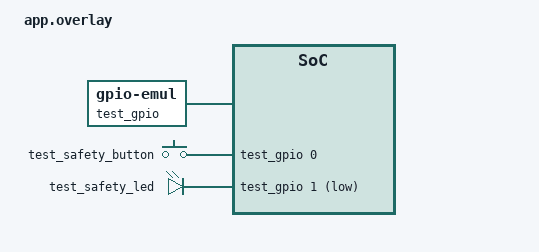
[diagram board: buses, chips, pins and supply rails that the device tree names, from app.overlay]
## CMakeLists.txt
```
############################################################################
#
#   Copyright (c) 2026 PX4 Development Team. All rights reserved.
#
# Redistribution and use in source and binary forms, with or without
# modification, are permitted provided that the following conditions
# are met:
#
# 1. Redistributions of source code must retain the above copyright
#    notice, this list of conditions and the following disclaimer.
# 2. Redistributions in binary form must reproduce the above copyright
#    notice, this list of conditions and the following disclaimer in
#    the documentation and/or other materials provided with the
#    distribution.
# 3. Neither the name PX4 nor the names of its contributors may be
#    used to endorse or promote products derived from this software
#    without specific prior written permission.
#
# THIS SOFTWARE IS PROVIDED BY THE COPYRIGHT HOLDERS AND CONTRIBUTORS
# "AS IS" AND ANY EXPRESS OR IMPLIED WARRANTIES, INCLUDING, BUT NOT
# LIMITED TO, THE IMPLIED WARRANTIES OF MERCHANTABILITY AND FITNESS
# FOR A PARTICULAR PURPOSE ARE DISCLAIMED. IN NO EVENT SHALL THE
# COPYRIGHT OWNER OR CONTRIBUTORS BE LIABLE FOR ANY DIRECT, INDIRECT,
# INCIDENTAL, SPECIAL, EXEMPLARY, OR CONSEQUENTIAL DAMAGES (INCLUDING,
# BUT NOT LIMITED TO, PROCUREMENT OF SUBSTITUTE GOODS OR SERVICES; LOSS
# OF USE, DATA, OR PROFITS; OR BUSINESS INTERRUPTION) HOWEVER CAUSED
# AND ON ANY THEORY OF LIABILITY, WHETHER IN CONTRACT, STRICT
# LIABILITY, OR TORT (INCLUDING NEGLIGENCE OR OTHERWISE) ARISING IN
# ANY WAY OUT OF THE USE OF THIS SOFTWARE, EVEN IF ADVISED OF THE
# POSSIBILITY OF SUCH DAMAGE.
#
############################################################################

cmake_minimum_required(VERSION 3.20.0)

find_package(Zephyr REQUIRED HINTS $ENV{ZEPHYR_BASE})
project(px4_safety_button_test)

target_sources(app PRIVATE
	src/main.cpp
	src/safety_switch.c
)
target_link_libraries(app PRIVATE px4_interface)
```

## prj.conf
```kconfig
CONFIG_ZTEST=y
CONFIG_ZTEST_STACK_SIZE=4096
CONFIG_PX4=y
CONFIG_PX4_BOARD_CONFIG="zephyr_generic_safety"
# the gpio-keys input driver reads the button too, as on the VMU RT1170
CONFIG_INPUT=y
```

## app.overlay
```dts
#include <zephyr/dt-bindings/gpio/gpio.h>
#include <zephyr/dt-bindings/input/input-event-codes.h>

/ {
	/* with the edge interrupts of the gpio-keys input driver */
	test_gpio: gpio-emul {
		compatible = "zephyr,gpio-emul";
		gpio-controller;
		#gpio-cells = <2>;
		rising-edge;
		falling-edge;
	};

	/* the safety switch of a GPS module, as on the VMU RT1170: the button, active high */
	test-keys {
		compatible = "gpio-keys";

		test_safety_button: safety-button {
			gpios = <&test_gpio 0 (GPIO_PULL_DOWN | GPIO_ACTIVE_HIGH)>;
			zephyr,code = <INPUT_KEY_0>;
		};
	};

	/* and its LED, active low */
	test-leds {
		compatible = "gpio-leds";

		test_safety_led: safety-led {
			gpios = <&test_gpio 1 GPIO_ACTIVE_LOW>;
		};
	};

	px4-safety-button {
		compatible = "px4,safety-button";
		button = <&test_safety_button>;
	};

	px4-leds {
		compatible = "px4,leds";
		safety = <&test_safety_led>;
	};
};

/* the buttons of the board, which the gpio-keys driver can't read on the QEMU board, as they have no interrupts */
&{/gpio_keys} {
	status = "disabled";
};
```

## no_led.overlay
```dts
/ {
	px4-leds {
		/delete-property/ safety;
	};
};
```

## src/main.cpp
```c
/****************************************************************************
 *
 *   Copyright (c) 2026 PX4 Development Team. All rights reserved.
 *
 * Redistribution and use in source and binary forms, with or without
 * modification, are permitted provided that the following conditions
 * are met:
 *
 * 1. Redistributions of source code must retain the above copyright
 *    notice, this list of conditions and the following disclaimer.
 * 2. Redistributions in binary form must reproduce the above copyright
 *    notice, this list of conditions and the following disclaimer in
 *    the documentation and/or other materials provided with the
 *    distribution.
 * 3. Neither the name PX4 nor the names of its contributors may be
 *    used to endorse or promote products derived from this software
 *    without specific prior written permission.
 *
 * THIS SOFTWARE IS PROVIDED BY THE COPYRIGHT HOLDERS AND CONTRIBUTORS
 * "AS IS" AND ANY EXPRESS OR IMPLIED WARRANTIES, INCLUDING, BUT NOT
 * LIMITED TO, THE IMPLIED WARRANTIES OF MERCHANTABILITY AND FITNESS
 * FOR A PARTICULAR PURPOSE ARE DISCLAIMED. IN NO EVENT SHALL THE
 * COPYRIGHT OWNER OR CONTRIBUTORS BE LIABLE FOR ANY DIRECT, INDIRECT,
 * INCIDENTAL, SPECIAL, EXEMPLARY, OR CONSEQUENTIAL DAMAGES (INCLUDING,
 * BUT NOT LIMITED TO, PROCUREMENT OF SUBSTITUTE GOODS OR SERVICES; LOSS
 * OF USE, DATA, OR PROFITS; OR BUSINESS INTERRUPTION) HOWEVER CAUSED
 * AND ON ANY THEORY OF LIABILITY, WHETHER IN CONTRACT, STRICT
 * LIABILITY, OR TORT (INCLUDING NEGLIGENCE OR OTHERWISE) ARISING IN
 * ANY WAY OUT OF THE USE OF THIS SOFTWARE, EVEN IF ADVISED OF THE
 * POSSIBILITY OF SUCH DAMAGE.
 *
 ****************************************************************************/

/**
 * @file main.cpp
 *
 * Tests of the safety_button driver with the safety switch of a GPS module on an emulated GPIO controller: a button,
 * also read by the gpio-keys input driver, as on the VMU RT1170, and its LED.
 */

#include "safety_switch.h"

#include <drivers/drv_hrt.h>
#include <px4_platform_common/px4_config.h>
#include <px4_zephyr.h>
#include <uORB/Publication.hpp>
#include <uORB/Subscription.hpp>
#include <uORB/topics/actuator_armed.h>
#include <uORB/topics/button_event.h>
#include <uORB/topics/led_control.h>
#include <uORB/topics/tune_control.h>
#include <uORB/topics/vehicle_command.h>
#include <uORB/topics/vehicle_status.h>

#include <stdlib.h>
#include <string.h>

#include <zephyr/ztest.h>

using namespace time_literals;

#if !defined(BOARD_SAFETY_BUTTON)
#error "the safety button of the devicetree is BOARD_SAFETY_BUTTON()"
#endif

#if defined(CONFIG_PX4_SAFETY_LED) != defined(BOARD_SAFETY_LED)
#error "the safety LED of the devicetree is BOARD_SAFETY_LED()"
#endif

// the driver samples the button every 33 ms, and publishes a safety button event once it has been pressed for 30
// samples, about 1 second
static constexpr hrt_abstime INTERVAL{33_ms};
static constexpr unsigned PRESSED_SAMPLES{30};

// the latency of the work queue
static constexpr hrt_abstime LATENCY{2_ms};

// a press or a release of this length is sampled at least once
static constexpr hrt_abstime SAMPLED{INTERVAL + 17_ms};

// the presses that request pairing are within this time
static constexpr hrt_abstime PAIRING_WINDOW{2_s};

// the gpio-keys input driver reports a press once the button has been stable for its debounce interval
static constexpr hrt_abstime KEY_DEBOUNCE{30_ms};

static bool led_lit_at_start;

static int run(const char *command)
{
	char buffer[64];
	strncpy(buffer, command, sizeof(buffer) - 1);
	buffer[sizeof(buffer) - 1] = '\0';

	char *argv[4] {};
	int argc = 0;
	char *saveptr = nullptr;

	for (char *token = strtok_r(buffer, " ", &saveptr); token != nullptr && argc < 4;
	     token = strtok_r(nullptr, " ", &saveptr)) {
		argv[argc++] = token;
	}

	return px4_zephyr_run_command(argc, argv);
}

static void *setup(void)
{
	static bool initialized = false;

	if (!initialized) {
		initialized = true;

		zassert_ok(px4_zephyr_init());
		zassert_ok(run("safety_button start"));

		// the driver leaves the LED off until the armed state is published
		k_sleep(K_USEC(4 * INTERVAL));
		led_lit_at_start = test_led_lit();
	}

	return nullptr;
}

static void sleep_for(hrt_abstime time)
{
	k_sleep(K_USEC(time));
}

// skip the messages published so far
template<typename T>
static void skip_messages(uORB::Subscription &subscription)
{
	T message;

	while (subscription.update(&message)) {
	}
}

// as Commander publishes them
static void publish_state(bool safety_off, bool armed)
{
	static uORB::Publication<vehicle_status_s> vehicle_status_pub{ORB_ID(vehicle_status)};
	static uORB::Publication<actuator_armed_s> actuator_armed_pub{ORB_ID(actuator_armed)};

	vehicle_status_s vehicle_status{};
	vehicle_status.arming_state = armed ? vehicle_status_s::ARMING_STATE_ARMED : vehicle_status_s::ARMING_STATE_DISARMED;
	vehicle_status.safety_button_available = true;
	vehicle_status.safety_off = safety_off;
	vehicle_status.timestamp = hrt_absolute_time();
	vehicle_status_pub.publish(vehicle_status);

	actuator_armed_s actuator_armed{};
	actuator_armed.armed = armed;
	actuator_armed.timestamp = hrt_absolute_time();
	actuator_armed_pub.publish(actuator_armed);
}

// the time of the next safety button event, or 0 if there is none within the timeout
static hrt_abstime wait_for_event(uORB::Subscription &subscription, hrt_abstime timeout)
{
	const hrt_abstime start = hrt_absolute_time();

	while (hrt_elapsed_time(&start) < timeout) {
		button_event_s event;

		if (subscription.update(&event)) {
			zassert_true(event.triggered);
			return event.timestamp;
		}

		k_sleep(K_MSEC(1));
	}

	return 0;
}

// press the button, and check the safety button event of the driver after 30 samples
static void press_for_event(uORB::Subscription &subscription)
{
	const hrt_abstime pressed = hrt_absolute_time();
	test_button_set(true);

	const hrt_abstime event = wait_for_event(subscription, PRESSED_SAMPLES * INTERVAL + 100_ms);
	zassert_true(event != 0, "no safety button event");

	// the 30th sample, 29 intervals after the first one, within an interval of the press
	const hrt_abstime delay = event - pressed;
	zassert_between_inclusive(delay, (PRESSED_SAMPLES - 1) * INTERVAL - LATENCY, PRESSED_SAMPLES * INTERVAL + LATENCY,
				  "event %u us after the press", (uint32_t)delay);
}

static void button_before(void *fixture)
{
	test_button_set(false);
	sleep_for(SAMPLED);
}

static void release_button(void *fixture)
{
	test_button_set(false);
}

ZTEST(px4_safety_button, test_input)
{
	zassert_true(test_button_is_input(), "the button isn't an input with a pull-down");

#if defined(CONFIG_INPUT_GPIO_KEYS)
	// configured by the gpio-keys input driver, whose interrupt PX4 leaves enabled
	zassert_true(test_button_has_interrupt(), "the interrupt of the button is disabled");
#endif
}

ZTEST(px4_safety_button, test_press)
{
	uORB::Subscription safety_button_sub{ORB_ID(safety_button)};
	skip_messages<button_event_s>(safety_button_sub);

	const uint32_t key_presses = test_button_key_presses();
	const uint32_t key_releases = test_button_key_releases();

	press_for_event(safety_button_sub);

	// no other event while the button is held
	zassert_equal(wait_for_event(safety_button_sub, 2_s), 0, "event while the button is held");

	// another one when it is pressed again
	test_button_set(false);
	sleep_for(SAMPLED);
	press_for_event(safety_button_sub);

	test_button_set(false);
	sleep_for(KEY_DEBOUNCE + SAMPLED);

#if defined(CONFIG_INPUT_GPIO_KEYS)
	// the gpio-keys input driver still reports the button
	zassert_equal(test_button_key_presses() - key_presses, 2);
	zassert_equal(test_button_key_releases() - key_releases, 2);
#else
	ARG_UNUSED(key_presses);
	ARG_UNUSED(key_releases);
#endif
}

ZTEST(px4_safety_button, test_interrupted_press)
{
	uORB::Subscription safety_button_sub{ORB_ID(safety_button)};
	skip_messages<button_event_s>(safety_button_sub);

	// presses shorter than 1 second, interrupted by releases that the driver samples, as with a bad contact
	for (int i = 0; i < 3; i++) {
		test_button_set(true);
		sleep_for(700_ms);
		test_button_set(false);
		sleep_for(SAMPLED);
	}

	zassert_false(safety_button_sub.updated(), "event for interrupted presses");

	// the event 1 second after the last press
	press_for_event(safety_button_sub);
}

ZTEST(px4_safety_button, test_pairing)
{
	uORB::Subscription safety_button_sub{ORB_ID(safety_button)};
	uORB::Subscription vehicle_command_sub{ORB_ID(vehicle_command)};
	uORB::Subscription led_control_sub{ORB_ID(led_control)};
	uORB::Subscription tune_control_sub{ORB_ID(tune_control)};

	// the presses of the other tests are out of the window
	sleep_for(PAIRING_WINDOW + SAMPLED);
	skip_messages<button_event_s>(safety_button_sub);
	skip_messages<vehicle_command_s>(vehicle_command_sub);
	skip_messages<led_control_s>(led_control_sub);
	skip_messages<tune_control_s>(tune_control_sub);

	// 3 presses within 2 seconds request a pairing to the ground station
	for (int i = 0; i < 3; i++) {
		test_button_set(true);
		sleep_for(100_ms);
		test_button_set(false);
		sleep_for(100_ms);
	}

	vehicle_command_s vehicle_command;
	zassert_true(vehicle_command_sub.update(&vehicle_command), "no pairing request");
	zassert_equal(vehicle_command.command, vehicle_command_s::VEHICLE_CMD_START_RX_PAIR);
	zassert_equal(vehicle_command.param1, 10.f);
	zassert_false(vehicle_command_sub.updated());

	led_control_s led_control;
	zassert_true(led_control_sub.update(&led_control));
	zassert_equal(led_control.mode, led_control_s::MODE_BLINK_FAST);
	zassert_equal(led_control.color, led_control_s::COLOR_WHITE);
	zassert_equal(led_control.num_blinks, 20);

	tune_control_s tune_control;
	zassert_true(tune_control_sub.update(&tune_control));
	zassert_equal(tune_control.tune_id, tune_control_s::TUNE_ID_NOTIFY_POSITIVE);

	// presses more than 2 seconds apart don't
	sleep_for(PAIRING_WINDOW + SAMPLED);

	for (int i = 0; i < 3; i++) {
		test_button_set(true);
		sleep_for(100_ms);
		test_button_set(false);
		sleep_for(1_s);
	}

	zassert_false(vehicle_command_sub.updated(), "pairing request for presses more than 2 seconds apart");
	zassert_false(safety_button_sub.updated(), "safety button event for short presses");
}

#if !defined(CONFIG_PX4_SAFETY_LED)
ZTEST(px4_safety_button, test_no_led)
{
	// the driver has no LED to blink
	publish_state(true, true);
	sleep_for(500_ms);
	zassert_false(test_led_lit());
}
#endif

ZTEST_SUITE(px4_safety_button, NULL, setup, button_before, release_button, NULL);

#if defined(CONFIG_PX4_SAFETY_LED)

// the patterns of the safety LED: the driver shows each of the 16 bits for 3 samples (99 ms), so that a pattern lasts
// 48 samples
static constexpr uint16_t SLOW_BLINK{0x0003};   // safety on, disarmed
static constexpr uint16_t QUAD_BLINK{0x5500};   // safety on, armed
static constexpr uint16_t DOUBLE_BLINK{0x5050}; // safety off, disarmed
static constexpr uint16_t SOLID{0xffff};        // safety off, armed
static constexpr int SAMPLES_PER_BIT{3};
static constexpr int PATTERN_SAMPLES{48};
static constexpr hrt_abstime PATTERN_PERIOD{PATTERN_SAMPLES * INTERVAL};

// the LED is sampled every millisecond
static constexpr hrt_abstime LED_SAMPLE{1_ms};
static constexpr hrt_abstime LED_TOLERANCE{2 * LATENCY + LED_SAMPLE};

static bool pattern_lit(uint16_t pattern, int sample)
{
	return (pattern & (1 << ((sample % PATTERN_SAMPLES) / SAMPLES_PER_BIT))) != 0;
}

struct led_change {
	hrt_abstime time;
	bool lit;
};

static constexpr size_t MAX_CHANGES{64};

// the changes of the LED for a time, too many for the stack of the test
static led_change changes[MAX_CHANGES];

static size_t record_led(hrt_abstime duration)
{
	size_t count = 0;
	bool lit = test_led_lit();
	const hrt_abstime start = hrt_absolute_time();

	while (hrt_elapsed_time(&start) < duration) {
		sleep_for(LED_SAMPLE);

		if (test_led_lit() != lit) {
			lit = !lit;

			if (count < MAX_CHANGES) {
				changes[count] = {hrt_absolute_time(), lit};
			}

			count++;
		}
	}

	zassert_true(count <= MAX_CHANGES, "%zu changes", count);
	return count;
}

// check that the LED blinks the pattern, over two periods
static void check_pattern(uint16_t pattern)
{
	// the driver has seen the new state
	sleep_for(2 * INTERVAL);

	const size_t count = record_led(2 * PATTERN_PERIOD + 4 * INTERVAL);

	if (pattern == SOLID) {
		zassert_equal(count, 0, "%zu changes", count);
		zassert_true(test_led_lit());
		return;
	}

	// the samples during which the LED stays lit or off between two changes, a period of them at least
	int runs[MAX_CHANGES] {};
	int samples = 0;

	for (size_t i = 0; i + 1 < count; i++) {
		const hrt_abstime duration = changes[i + 1].time - changes[i].time;
		runs[i] = (int)((duration + INTERVAL / 2) / INTERVAL);
		samples += runs[i];

		const int64_t error = (int64_t)duration - (int64_t)(runs[i] * INTERVAL);
		zassert_true(llabs(error) <= (int64_t)LED_TOLERANCE, "%s for %u us", changes[i].lit ? "lit" : "off",
			     (uint32_t)duration);
	}

	zassert_true(samples >= PATTERN_SAMPLES, "%d samples", samples);

	// the sample of the pattern at the first change
	bool found = false;

	for (int first = 0; (first < PATTERN_SAMPLES) && !found; first++) {
		bool match = pattern_lit(pattern, first + PATTERN_SAMPLES - 1) != changes[0].lit;
		int sample = first;

		for (size_t i = 0; (i + 1 < count) && match; i++) {
			for (int run = 0; run < runs[i]; run++) {
				match = match && (pattern_lit(pattern, sample + run) == changes[i].lit);
			}

			sample += runs[i];
			match = match && (pattern_lit(pattern, sample) != changes[i].lit);
		}

		found = match;
	}

	zassert_true(found, "the LED doesn't blink %04x", pattern);
}

ZTEST(px4_safety_led, test_start)
{
	zassert_false(led_lit_at_start, "LED lit before the armed state is published");
}

ZTEST(px4_safety_led, test_safety_on)
{
	publish_state(false, false);
	check_pattern(SLOW_BLINK);
}

ZTEST(px4_safety_led, test_safety_off)
{
	publish_state(true, false);
	check_pattern(DOUBLE_BLINK);
}

ZTEST(px4_safety_led, test_armed)
{
	publish_state(false, true);
	check_pattern(QUAD_BLINK);
}

ZTEST(px4_safety_led, test_armed_safety_off)
{
	publish_state(true, true);
	check_pattern(SOLID);

	// active low
	zassert_equal(test_led_level(), 0);
}

ZTEST(px4_safety_led, test_button)
{
	// the LED shows the safety state, not the button
	publish_state(false, false);
	test_button_set(true);
	check_pattern(SLOW_BLINK);
}

ZTEST_SUITE(px4_safety_led, NULL, setup, NULL, release_button, NULL);

#endif // CONFIG_PX4_SAFETY_LED
```

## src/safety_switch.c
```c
/****************************************************************************
 *
 *   Copyright (c) 2026 PX4 Development Team. All rights reserved.
 *
 * Redistribution and use in source and binary forms, with or without
 * modification, are permitted provided that the following conditions
 * are met:
 *
 * 1. Redistributions of source code must retain the above copyright
 *    notice, this list of conditions and the following disclaimer.
 * 2. Redistributions in binary form must reproduce the above copyright
 *    notice, this list of conditions and the following disclaimer in
 *    the documentation and/or other materials provided with the
 *    distribution.
 * 3. Neither the name PX4 nor the names of its contributors may be
 *    used to endorse or promote products derived from this software
 *    without specific prior written permission.
 *
 * THIS SOFTWARE IS PROVIDED BY THE COPYRIGHT HOLDERS AND CONTRIBUTORS
 * "AS IS" AND ANY EXPRESS OR IMPLIED WARRANTIES, INCLUDING, BUT NOT
 * LIMITED TO, THE IMPLIED WARRANTIES OF MERCHANTABILITY AND FITNESS
 * FOR A PARTICULAR PURPOSE ARE DISCLAIMED. IN NO EVENT SHALL THE
 * COPYRIGHT OWNER OR CONTRIBUTORS BE LIABLE FOR ANY DIRECT, INDIRECT,
 * INCIDENTAL, SPECIAL, EXEMPLARY, OR CONSEQUENTIAL DAMAGES (INCLUDING,
 * BUT NOT LIMITED TO, PROCUREMENT OF SUBSTITUTE GOODS OR SERVICES; LOSS
 * OF USE, DATA, OR PROFITS; OR BUSINESS INTERRUPTION) HOWEVER CAUSED
 * AND ON ANY THEORY OF LIABILITY, WHETHER IN CONTRACT, STRICT
 * LIABILITY, OR TORT (INCLUDING NEGLIGENCE OR OTHERWISE) ARISING IN
 * ANY WAY OUT OF THE USE OF THIS SOFTWARE, EVEN IF ADVISED OF THE
 * POSSIBILITY OF SUCH DAMAGE.
 *
 ****************************************************************************/


#include "safety_switch.h"

#include <zephyr/device.h>
#include <zephyr/devicetree.h>
#include <zephyr/drivers/gpio.h>
#include <zephyr/drivers/gpio/gpio_emul.h>
#include <zephyr/input/input.h>
#include <zephyr/sys/atomic.h>

#define BUTTON_NODE DT_NODELABEL(test_safety_button)

static const struct gpio_dt_spec button = GPIO_DT_SPEC_GET(BUTTON_NODE, gpios);
static const struct gpio_dt_spec led = GPIO_DT_SPEC_GET(DT_NODELABEL(test_safety_led), gpios);

static atomic_t key_presses;
static atomic_t key_releases;

void test_button_set(bool pressed)
{
	const bool active_low = (button.dt_flags & GPIO_ACTIVE_LOW) != 0;

	(void)gpio_emul_input_set(button.port, button.pin, (pressed != active_low) ? 1 : 0);
}

static gpio_flags_t button_flags(void)
{
	gpio_flags_t flags = 0;

	(void)gpio_emul_flags_get(button.port, button.pin, &flags);
	return flags;
}

bool test_button_is_input(void)
{
	const gpio_flags_t flags = button_flags();

	return ((flags & GPIO_INPUT) != 0) && ((flags & GPIO_OUTPUT) == 0) && ((flags & GPIO_PULL_DOWN) != 0);
}

bool test_button_has_interrupt(void)
{
	return (button_flags() & GPIO_INT_EDGE_BOTH) == GPIO_INT_EDGE_BOTH;
}

uint32_t test_button_key_presses(void)
{
	return (uint32_t)atomic_get(&key_presses);
}

uint32_t test_button_key_releases(void)
{
	return (uint32_t)atomic_get(&key_releases);
}

int test_led_level(void)
{
	return gpio_emul_output_get(led.port, led.pin);
}

bool test_led_lit(void)
{
	const bool active_low = (led.dt_flags & GPIO_ACTIVE_LOW) != 0;

	return (test_led_level() == 1) != active_low;
}

#if defined(CONFIG_INPUT_GPIO_KEYS)
static void key_event(struct input_event *event, void *user_data)
{
	ARG_UNUSED(user_data);

	if ((event->type == INPUT_EV_KEY) && (event->code == DT_PROP(BUTTON_NODE, zephyr_code))) {
		atomic_inc((event->value != 0) ? &key_presses : &key_releases);
	}
}

INPUT_CALLBACK_DEFINE(DEVICE_DT_GET(DT_PARENT(BUTTON_NODE)), key_event, NULL);
#endif
```

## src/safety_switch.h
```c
/****************************************************************************
 *
 *   Copyright (c) 2026 PX4 Development Team. All rights reserved.
 *
 * Redistribution and use in source and binary forms, with or without
 * modification, are permitted provided that the following conditions
 * are met:
 *
 * 1. Redistributions of source code must retain the above copyright
 *    notice, this list of conditions and the following disclaimer.
 * 2. Redistributions in binary form must reproduce the above copyright
 *    notice, this list of conditions and the following disclaimer in
 *    the documentation and/or other materials provided with the
 *    distribution.
 * 3. Neither the name PX4 nor the names of its contributors may be
 *    used to endorse or promote products derived from this software
 *    without specific prior written permission.
 *
 * THIS SOFTWARE IS PROVIDED BY THE COPYRIGHT HOLDERS AND CONTRIBUTORS
 * "AS IS" AND ANY EXPRESS OR IMPLIED WARRANTIES, INCLUDING, BUT NOT
 * LIMITED TO, THE IMPLIED WARRANTIES OF MERCHANTABILITY AND FITNESS
 * FOR A PARTICULAR PURPOSE ARE DISCLAIMED. IN NO EVENT SHALL THE
 * COPYRIGHT OWNER OR CONTRIBUTORS BE LIABLE FOR ANY DIRECT, INDIRECT,
 * INCIDENTAL, SPECIAL, EXEMPLARY, OR CONSEQUENTIAL DAMAGES (INCLUDING,
 * BUT NOT LIMITED TO, PROCUREMENT OF SUBSTITUTE GOODS OR SERVICES; LOSS
 * OF USE, DATA, OR PROFITS; OR BUSINESS INTERRUPTION) HOWEVER CAUSED
 * AND ON ANY THEORY OF LIABILITY, WHETHER IN CONTRACT, STRICT
 * LIABILITY, OR TORT (INCLUDING NEGLIGENCE OR OTHERWISE) ARISING IN
 * ANY WAY OUT OF THE USE OF THIS SOFTWARE, EVEN IF ADVISED OF THE
 * POSSIBILITY OF SUCH DAMAGE.
 *
 ****************************************************************************/


/**
 * @file safety_switch.h
 *
 * The safety switch of the test, on an emulated GPIO controller: a button and its LED.
 */

#pragma once

#include <stdbool.h>
#include <stdint.h>

#ifdef __cplusplus
extern "C" {
#endif

/* press or release the button */
void test_button_set(bool pressed);

/* the GPIO of the button is an input with a pull-down, as in the devicetree */
bool test_button_is_input(void);

/* the gpio-keys input driver has the interrupt of the button enabled on both edges */
bool test_button_has_interrupt(void);

/* the presses and releases that the gpio-keys input driver has reported */
uint32_t test_button_key_presses(void);
uint32_t test_button_key_releases(void);

/* the level of the GPIO of the LED */
int test_led_level(void);

/* the LED is lit, from the level of its GPIO and its polarity */
bool test_led_lit(void);

#ifdef __cplusplus
}
#endif
```
